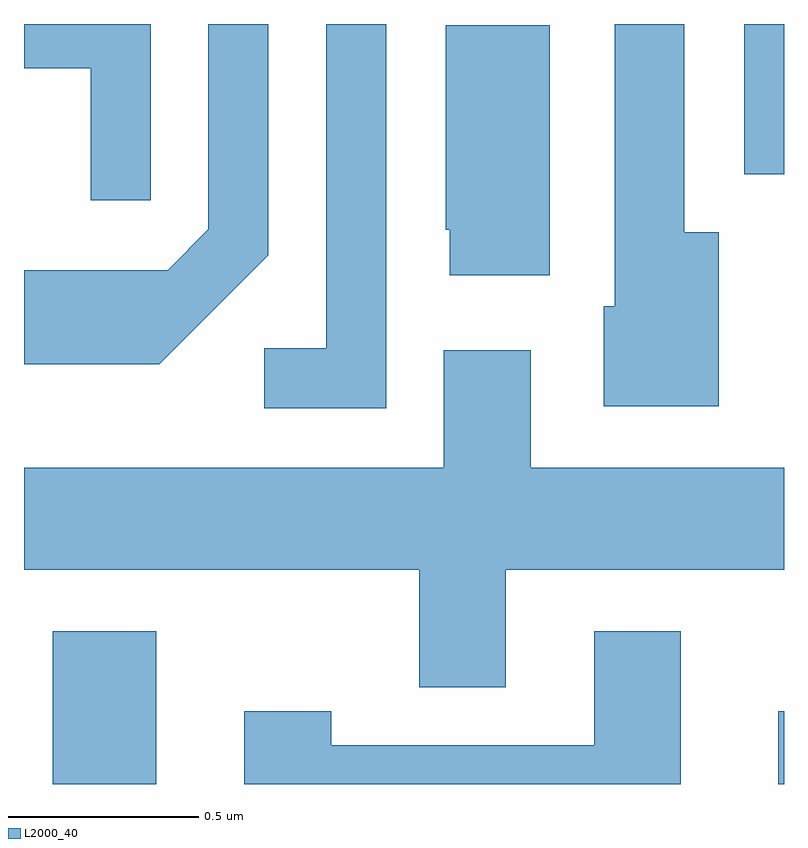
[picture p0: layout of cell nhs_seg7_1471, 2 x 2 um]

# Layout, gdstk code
import gdstk
lib = gdstk.Library(unit=1e-6, precision=1e-09)
def R(c, l, rs):  # rectangles x0, y0, x1, y1
    for r in rs: c.add(gdstk.rectangle(r[:2], r[2:], *l))
def P(c, l, *ps):  # polygons
    for p in ps: c.add(gdstk.Polygon(p, *l))
L2000_40 = (2000, 40)

nhs_seg7_1471 = lib.new_cell('nhs_seg7_1471')
R(nhs_seg7_1471, L2000_40, [(195.686,1769.252,195.959,1769.654), (197.596,1769.252,197.611,1769.444), (197.506,1770.856,197.611,1771.252)])
P(nhs_seg7_1471, L2000_40, [(195.944,1771.252),(195.611,1771.252),(195.611,1771.136),(195.786,1771.136),(195.786,1770.788),(195.944,1770.788)],
  [(196.564,1771.252),(196.406,1771.252),(196.406,1770.399),(196.243,1770.399),(196.243,1770.241),(196.564,1770.241)],
  [(197.439,1770.704),(197.349,1770.704),(197.349,1771.252),(197.166,1771.252),(197.166,1770.509),(197.136,1770.509),(197.136,1770.246),(197.439,1770.246)],
  [(196.254,1770.644),(196.254,1771.252),(196.096,1771.252),(196.096,1770.712),(195.989,1770.604),(195.611,1770.604),(195.611,1770.356),(195.967,1770.356)],
  [(196.994,1771.249),(196.721,1771.249),(196.721,1770.71),(196.731,1770.71),(196.731,1770.591),(196.994,1770.591)],
  [(196.879,1769.816),(197.611,1769.816),(197.611,1770.084),(196.944,1770.084),(196.944,1770.394),(196.716,1770.394),(196.716,1770.084),(195.611,1770.084),(195.611,1769.816),(196.651,1769.816),(196.651,1769.506),(196.879,1769.506)],
  [(197.339,1769.654),(197.111,1769.654),(197.111,1769.354),(196.419,1769.354),(196.419,1769.444),(196.191,1769.444),(196.191,1769.252),(197.339,1769.252)])

lib.write_gds('nhs_seg7_1471.gds')
